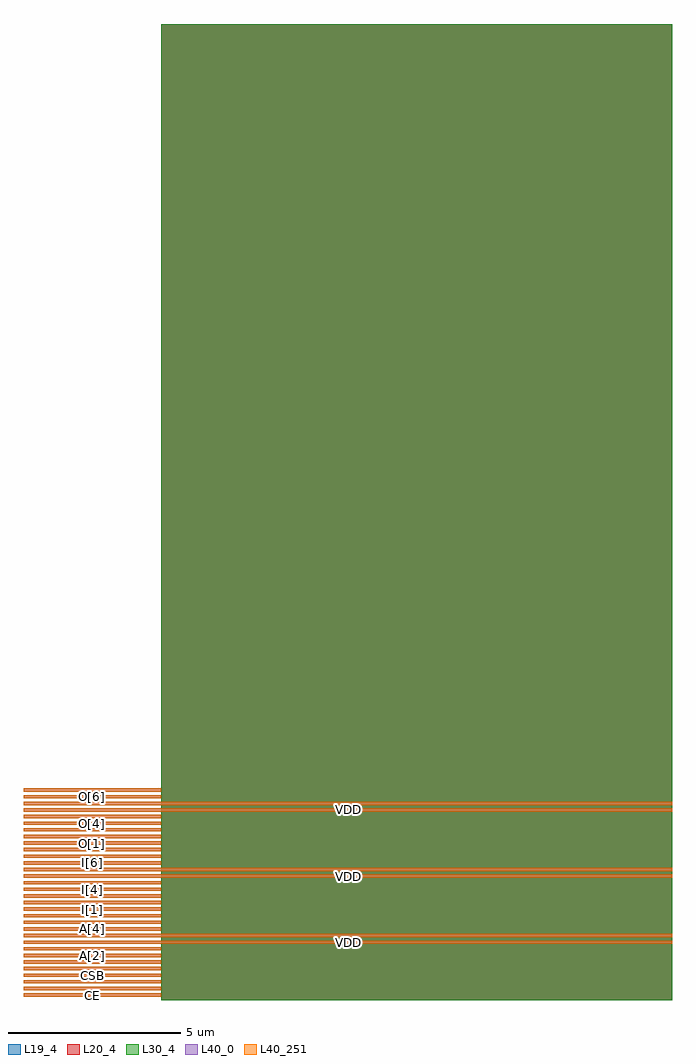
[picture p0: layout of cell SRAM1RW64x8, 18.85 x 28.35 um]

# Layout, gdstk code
import gdstk
lib = gdstk.Library(unit=1e-6, precision=1e-09)
def R(c, l, rs):  # rectangles x0, y0, x1, y1
    for r in rs: c.add(gdstk.rectangle(r[:2], r[2:], *l))
def A(c, l, x, y, w, h, nx, ny, dx, dy):  # array of equal rectangles
    R(c, l, [(x+i*dx, y+j*dy, x+i*dx+w, y+j*dy+h) for i in range(nx) for j in range(ny)])
L19_4 = (19, 4)
L20_4 = (20, 4)
L30_4 = (30, 4)
L40_0 = (40, 0)
L40_251 = (40, 251)

sram1rw64x8 = lib.new_cell('SRAM1RW64x8')
R(sram1rw64x8, L19_4, [(4,0,18.848,28.352)])
R(sram1rw64x8, L20_4, [(4,0,18.848,28.352)])
R(sram1rw64x8, L30_4, [(4,0,18.848,28.352)])
A(sram1rw64x8, L40_0, 0, 0.096, 4, 0.096, 1, 8, 0, 0.192)
A(sram1rw64x8, L40_0, 0, 2.016, 4, 0.096, 1, 8, 0, 0.192)
A(sram1rw64x8, L40_0, 0, 3.936, 4, 0.096, 1, 8, 0, 0.192)
R(sram1rw64x8, L40_0, [(0,1.632,18.848,1.728), (0,1.824,18.848,1.92), (0,3.552,18.848,3.648), (0,3.744,18.848,3.84), (0,5.472,18.848,5.568), (0,5.664,18.848,5.76), (0,5.856,4,5.952), (0,6.048,4,6.144)])
A(sram1rw64x8, L40_251, 0, 0.096, 4, 0.096, 1, 8, 0, 0.192)
A(sram1rw64x8, L40_251, 0, 2.016, 4, 0.096, 1, 8, 0, 0.192)
A(sram1rw64x8, L40_251, 0, 3.936, 4, 0.096, 1, 8, 0, 0.192)
R(sram1rw64x8, L40_251, [(0,1.632,18.848,1.728), (0,1.824,18.848,1.92), (0,3.552,18.848,3.648), (0,3.744,18.848,3.84), (0,5.472,18.848,5.568), (0,5.664,18.848,5.76), (0,5.856,4,5.952), (0,6.048,4,6.144)])
sram1rw64x8.add(gdstk.Label('CE', (2,0.144), layer=40, texttype=0))
sram1rw64x8.add(gdstk.Label('WEB', (2,0.336), layer=40, texttype=0))
sram1rw64x8.add(gdstk.Label('OEB', (2,0.528), layer=40, texttype=0))
sram1rw64x8.add(gdstk.Label('CSB', (2,0.72), layer=40, texttype=0))
sram1rw64x8.add(gdstk.Label('A[0]', (2,0.912), layer=40, texttype=0))
sram1rw64x8.add(gdstk.Label('A[1]', (2,1.104), layer=40, texttype=0))
sram1rw64x8.add(gdstk.Label('A[2]', (2,1.296), layer=40, texttype=0))
sram1rw64x8.add(gdstk.Label('A[3]', (2,1.488), layer=40, texttype=0))
sram1rw64x8.add(gdstk.Label('A[4]', (2,2.064), layer=40, texttype=0))
sram1rw64x8.add(gdstk.Label('A[5]', (2,2.256), layer=40, texttype=0))
sram1rw64x8.add(gdstk.Label('I[0]', (2,2.448), layer=40, texttype=0))
sram1rw64x8.add(gdstk.Label('I[1]', (2,2.64), layer=40, texttype=0))
sram1rw64x8.add(gdstk.Label('I[2]', (2,2.832), layer=40, texttype=0))
sram1rw64x8.add(gdstk.Label('I[3]', (2,3.024), layer=40, texttype=0))
sram1rw64x8.add(gdstk.Label('I[4]', (2,3.216), layer=40, texttype=0))
sram1rw64x8.add(gdstk.Label('I[5]', (2,3.408), layer=40, texttype=0))
sram1rw64x8.add(gdstk.Label('I[6]', (2,3.984), layer=40, texttype=0))
sram1rw64x8.add(gdstk.Label('I[7]', (2,4.176), layer=40, texttype=0))
sram1rw64x8.add(gdstk.Label('O[0]', (2,4.368), layer=40, texttype=0))
sram1rw64x8.add(gdstk.Label('O[1]', (2,4.56), layer=40, texttype=0))
sram1rw64x8.add(gdstk.Label('O[2]', (2,4.752), layer=40, texttype=0))
sram1rw64x8.add(gdstk.Label('O[3]', (2,4.944), layer=40, texttype=0))
sram1rw64x8.add(gdstk.Label('O[4]', (2,5.136), layer=40, texttype=0))
sram1rw64x8.add(gdstk.Label('O[5]', (2,5.328), layer=40, texttype=0))
sram1rw64x8.add(gdstk.Label('O[6]', (2,5.904), layer=40, texttype=0))
sram1rw64x8.add(gdstk.Label('O[7]', (2,6.096), layer=40, texttype=0))
sram1rw64x8.add(gdstk.Label('VDD', (9.424,1.68), layer=40, texttype=0))
sram1rw64x8.add(gdstk.Label('VDD', (9.424,3.6), layer=40, texttype=0))
sram1rw64x8.add(gdstk.Label('VDD', (9.424,5.52), layer=40, texttype=0))
sram1rw64x8.add(gdstk.Label('VSS', (9.424,1.872), layer=40, texttype=0))
sram1rw64x8.add(gdstk.Label('VSS', (9.424,3.792), layer=40, texttype=0))
sram1rw64x8.add(gdstk.Label('VSS', (9.424,5.712), layer=40, texttype=0))

lib.write_gds('SRAM1RW64x8.gds')
